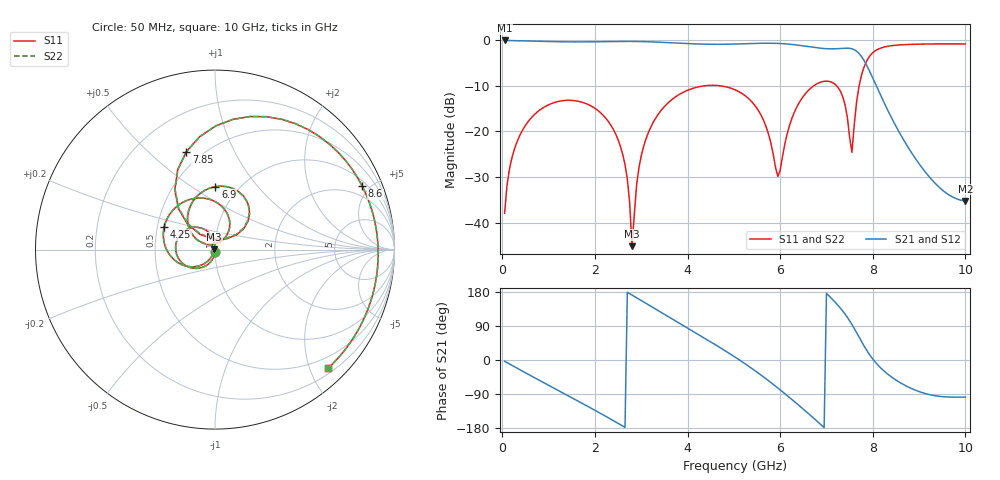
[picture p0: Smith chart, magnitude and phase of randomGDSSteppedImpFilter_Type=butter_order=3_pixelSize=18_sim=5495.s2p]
! freq	dB(S11)	phase(S11)	dB(S12)	phase(S12)
!  dB(S21)	phase(S21)	dB(S22)	phase(S22)
!S-par simulation data
#  GHz  S  DB  R 50
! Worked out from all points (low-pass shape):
!   200 points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, 50 MHz to 10 GHz, reference 50 ohm
!   highest |S21| = -0.02 dB at 50 MHz (marker M1); lowest = -35.3 dB at 10 GHz (marker M2)
!   |S21| within 3 dB of the highest: start of sweep to 7.714 GHz
!   lowest |S11| = -45.2 dB at 2.8 GHz (marker M3), VSWR 1.01, Z = 49.5 + j0.268 ohm
!   |S11| at or under -10 dB: start of sweep to 4.347 GHz; 4.726 GHz to 6.723 GHz (1.997 GHz wide, 34.9 % of centre); 7.221 GHz to 7.706 GHz (484.9 MHz wide, 6.5 % of centre)
!   |S22| runs from -45.3 to -0.8 dB; largest |S21 - S12| = 0
!   S11 on the Smith chart (normalised r, x): 50 MHz: 1.00, -0.03; 4.25 GHz: 0.54, +0.15; 6.9 GHz: 0.78, +0.63; 7.85 GHz: 0.41, +0.67; 8.6 GHz: 1.28, +4.50; 10 GHz: 0.29, -2.30
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0.05  -37.95 -87.4  -0.02 -3.4  -0.02 -3.4  -37.95 -87.4
0.2  -26.12 -102.2  -0.04 -13.6  -0.04 -13.6  -26.12 -102.2
0.55  -17.95 -127.2  -0.13 -37.1  -0.13 -37.1  -17.94 -127.2
1.75  -13.66 153.7  -0.33 -116.0  -0.33 -116.0  -13.66 153.7
2.55  -23.23 101.4  -0.23 -170.7  -0.23 -170.7  -23.22 101.3
2.7  -30.46 95.0  -0.22 178.7  -0.22 178.7  -30.45 94.8
2.8  -45.18 150.5  -0.23 171.5  -0.23 171.5  -45.28 150.2
3  -25.36 -117.8  -0.26 157.0  -0.26 157.0  -25.37 -117.7
3.4  -15.77 -143.9  -0.40 127.9  -0.40 127.9  -15.77 -143.9
4.25  -10.17 155.8  -0.80 66.2  -0.80 66.2  -10.17 155.7
5.05  -10.96 97.0  -0.80 5.7  -0.80 5.7  -10.96 96.9
5.6  -16.66 56.6  -0.64 -40.9  -0.64 -40.9  -16.67 56.1
5.95  -29.86 95.9  -0.67 -73.8  -0.67 -73.8  -30.33 95.4
6.25  -17.23 148.2  -0.89 -103.8  -0.89 -103.8  -17.26 149.1
6.7  -10.16 109.7  -1.51 -150.9  -1.51 -150.9  -10.17 110.2
6.9  -9.10 89.6  -1.75 -172.8  -1.75 -172.8  -9.10 90.1
7.35  -12.34 40.5  -1.74 129.4  -1.74 129.4  -12.33 41.3
7.55  -24.58 97.1  -1.85 93.6  -1.85 93.6  -24.10 96.9
7.85  -4.90 106.3  -5.11 29.4  -5.11 29.4  -4.89 106.1
8.35  -1.25 42.9  -15.89 -39.9  -15.89 -39.9  -1.24 42.9
8.6  -0.98 23.3  -20.68 -60.4  -20.68 -60.4  -0.98 23.3
10  -0.79 -46.4  -35.27 -98.0  -35.27 -98.0  -0.79 -46.3
